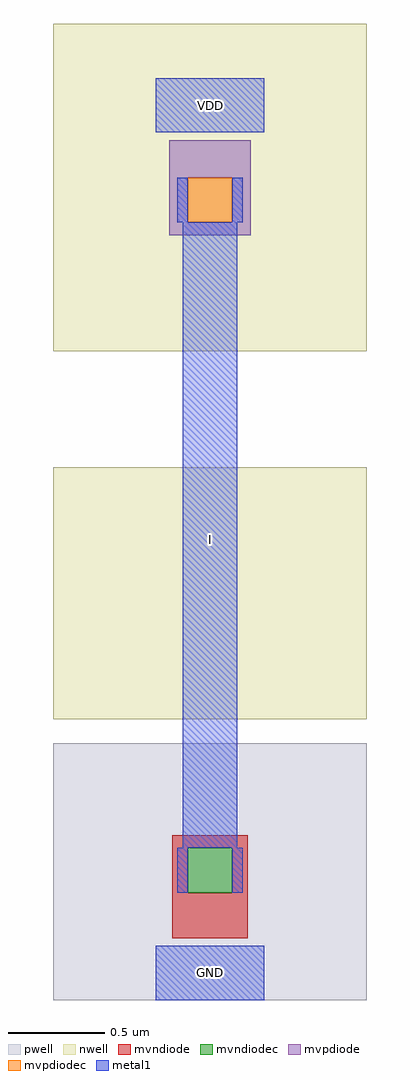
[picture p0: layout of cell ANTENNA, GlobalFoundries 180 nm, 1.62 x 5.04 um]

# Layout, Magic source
magic
tech gf180mcuC
magscale 1 10
<< nwell >>
rect -106 642 218 980
rect -106 262 218 522
<< pwell >>
rect -106 -28 218 237
<< mvpdiode >>
rect 14 821 98 860
rect 14 775 33 821
rect 79 775 98 821
rect 14 762 98 775
<< mvndiode >>
rect 17 129 95 142
rect 17 83 33 129
rect 79 83 95 129
rect 17 36 95 83
<< mvpdiodec >>
rect 33 775 79 821
<< mvndiodec >>
rect 33 83 79 129
<< metal1 >>
rect 0 868 112 924
rect 22 775 33 821
rect 79 775 90 821
rect 28 129 84 775
rect 22 83 33 129
rect 79 83 90 129
rect 0 -28 112 28
<< labels >>
rlabel metal1 0 -28 112 28 0 GND
port 1 nsew ground bidirectional
rlabel metal1 0 868 112 924 0 VDD
port 2 nsew power bidirectional
rlabel metal1 28 84 84 812 0 I
port 3 nsew signal input
<< properties >>
string FIXED_BBOX 0 0 112 896
string GDS_END 1248338
string GDS_FILE $PDKPATH/libs.ref/gf180mcu_fd_sc_mcu7t5v0/gds/gf180mcu_fd_sc_mcu7t5v0.gds
string GDS_START 1246732
string LEFclass core
string LEFsite site056um
string LEFsymmetry X Y
string MASKHINTS_DUALGATE -56 634 280 840 -56 424 -12 634 156 424 280 634 -56 280 280 424 -56 70 -12 280 156 70 280 280 -56 -56 280 70
string MASKHINTS_NPLUS -40 264 264 352 -40 86 4 264 140 86 264 264 -40 -40 264 86
string MASKHINTS_PPLUS -40 618 264 824 -40 440 4 618 140 440 264 618 -40 352 264 440
<< end >>
